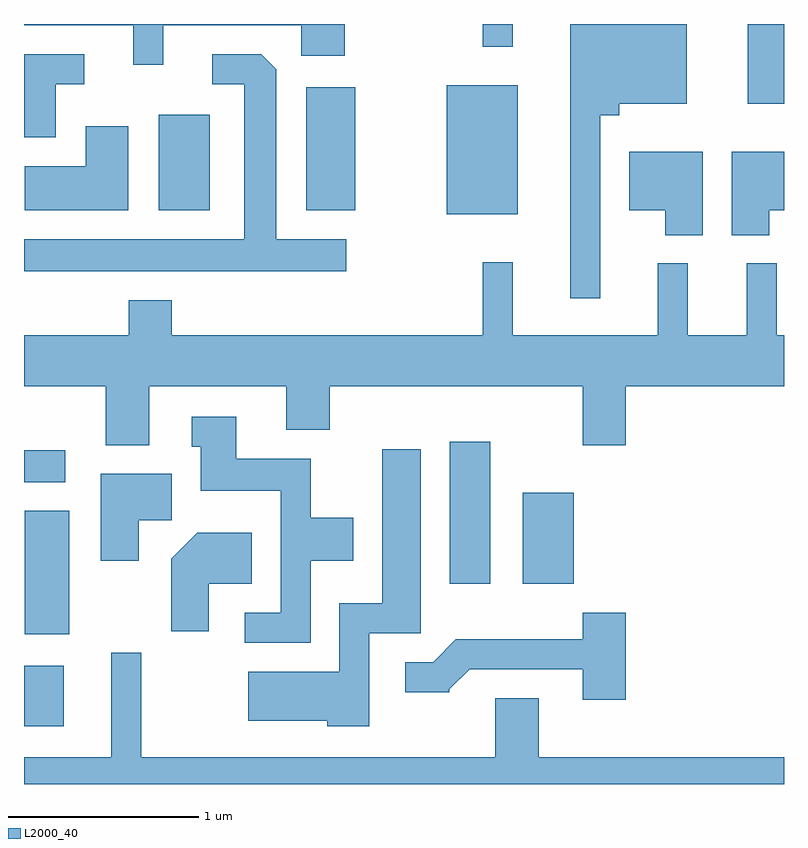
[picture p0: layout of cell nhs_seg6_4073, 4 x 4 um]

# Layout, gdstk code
import gdstk
lib = gdstk.Library(unit=1e-6, precision=1e-09)
def R(c, l, rs):  # rectangles x0, y0, x1, y1
    for r in rs: c.add(gdstk.rectangle(r[:2], r[2:], *l))
def P(c, l, *ps):  # polygons
    for p in ps: c.add(gdstk.Polygon(p, *l))
L2000_40 = (2000, 40)

nhs_seg6_4073 = lib.new_cell('nhs_seg6_4073')
R(nhs_seg6_4073, L2000_40, [(309.611,1550.466,309.819,1550.784), (309.616,1550.951,309.849,1551.599), (311.851,1551.216,312.064,1551.964), (312.236,1551.216,312.504,1551.694), (309.611,1551.751,309.828,1551.919), (311.836,1553.161,312.209,1553.839), (310.321,1553.181,310.589,1553.684), (311.096,1553.181,311.354,1553.829), (313.421,1553.741,313.611,1554.162), (312.026,1554.043,312.184,1554.162)])
P(nhs_seg6_4073, L2000_40, [(312.644,1553.681),(312.744,1553.681),(312.744,1553.741),(313.099,1553.741),(313.099,1554.162),(312.486,1554.162),(312.486,1552.718),(312.644,1552.718)],
  [(310.344,1554.156),(311.071,1554.156),(311.071,1553.996),(311.299,1553.996),(311.299,1554.162),(309.611,1554.162),(309.611,1554.156),(310.186,1554.156),(310.186,1553.948),(310.344,1553.948)],
  [(311.308,1553.029),(310.939,1553.029),(310.939,1553.924),(310.859,1554.004),(310.603,1554.004),(310.603,1553.846),(310.771,1553.846),(310.771,1553.029),(309.611,1553.029),(309.611,1552.861),(311.308,1552.861)],
  [(309.779,1553.846),(309.928,1553.846),(309.928,1554.004),(309.611,1554.004),(309.611,1553.566),(309.779,1553.566)],
  [(310.159,1553.624),(309.936,1553.624),(309.936,1553.414),(309.616,1553.414),(309.616,1553.181),(310.159,1553.181)],
  [(313.184,1553.489),(312.796,1553.489),(312.796,1553.181),(312.986,1553.181),(312.986,1553.051),(313.184,1553.051)],
  [(313.534,1553.181),(313.611,1553.181),(313.611,1553.489),(313.336,1553.489),(313.336,1553.051),(313.534,1553.051)],
  [(310.269,1552.256),(310.991,1552.256),(310.991,1552.026),(311.219,1552.026),(311.219,1552.256),(312.551,1552.256),(312.551,1551.946),(312.779,1551.946),(312.779,1552.256),(313.611,1552.256),(313.611,1552.524),(313.574,1552.524),(313.574,1552.903),(313.416,1552.903),(313.416,1552.524),(313.104,1552.524),(313.104,1552.903),(312.946,1552.903),(312.946,1552.524),(312.184,1552.524),(312.184,1552.908),(312.026,1552.908),(312.026,1552.524),(310.389,1552.524),(310.389,1552.709),(310.161,1552.709),(310.161,1552.524),(309.611,1552.524),(309.611,1552.256),(310.041,1552.256),(310.041,1551.946),(310.269,1551.946)],
  [(311.119,1551.336),(311.344,1551.336),(311.344,1551.564),(311.119,1551.564),(311.119,1551.874),(310.729,1551.874),(310.729,1552.094),(310.493,1552.094),(310.493,1551.936),(310.541,1551.936),(310.541,1551.706),(310.961,1551.706),(310.961,1551.064),(310.773,1551.064),(310.773,1550.906),(311.119,1550.906)],
  [(311.429,1550.956),(311.699,1550.956),(311.699,1551.924),(311.496,1551.924),(311.496,1551.114),(311.271,1551.114),(311.271,1550.754),(310.791,1550.754),(310.791,1550.496),(311.206,1550.496),(311.206,1550.466),(311.429,1550.466)],
  [(310.214,1551.551),(310.389,1551.551),(310.389,1551.794),(310.016,1551.794),(310.016,1551.336),(310.214,1551.336)],
  [(310.584,1551.216),(310.809,1551.216),(310.809,1551.484),(310.524,1551.484),(310.386,1551.347),(310.386,1550.966),(310.584,1550.966)],
  [(312.779,1551.064),(312.551,1551.064),(312.551,1550.924),(311.884,1550.924),(311.764,1550.804),(311.618,1550.804),(311.618,1550.646),(311.85,1550.646),(311.85,1550.66),(311.957,1550.766),(312.551,1550.766),(312.551,1550.606),(312.779,1550.606)],
  [(313.611,1550.304),(312.319,1550.304),(312.319,1550.614),(312.091,1550.614),(312.091,1550.304),(310.229,1550.304),(310.229,1550.853),(310.071,1550.853),(310.071,1550.304),(309.611,1550.304),(309.611,1550.162),(313.611,1550.162)])

lib.write_gds('nhs_seg6_4073.gds')
